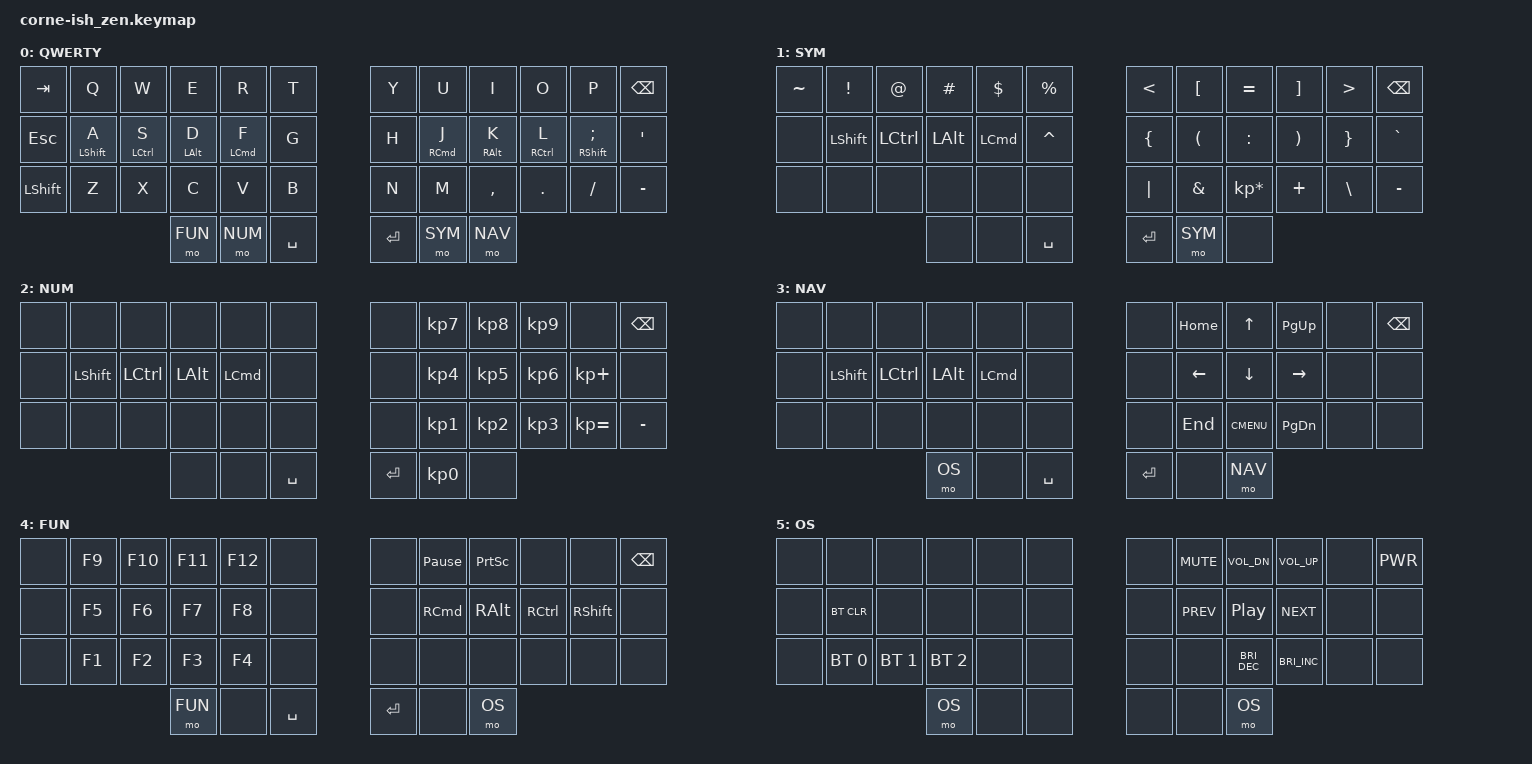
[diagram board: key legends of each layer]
/*
*
* Copyright (c) 2021 Darryl deHaan
* SPDX-License-Identifier: MIT
*
*/

#include <behaviors.dtsi>
#include <dt-bindings/zmk/keys.h>
#include <dt-bindings/zmk/bt.h>

#define QWE 0
#define SYM 1
#define NUM 2
#define NAV 3
#define FUN 4
#define OS  5

/ {
        chosen {
                zmk,matrix-transform = &default_transform;
                // zmk,matrix-transform = &five_column_transform;
        };
};

/ {
        behaviors {
                hm: homerow_mods {
                        compatible = "zmk,behavior-hold-tap";
                        #binding-cells = <2>;
                        tapping-term-ms = <200>;
                        quick_tap_ms = <0>;
                        flavor = "tap-preferred";
                        bindings = <&kp>, <&kp>;
                };
        };

        keymap {
                compatible = "zmk,keymap";

                default_layer {
                        display-name = "QWERTY";
// -----------------------------------------------------------------------------------------
// |  TAB |  Q  |  W  |  E  |  R  |  T  |   |  Y  |  U   |  I  |  O  |  P  | BKSP |
// |  ESC |  A  |  S  |  D  |  F  |  G  |   |  H  |  J   |  K  |  L  |  ;  |  '   |
// | SHFT |  Z  |  X  |  C  |  V  |  B  |   |  N  |  M   |  ,  |  .  |  /  |  -   |
//                    | FUN | NUM | SPC |   | ENT | SYM  | NAV |
                        bindings = <
// ╭─────────────┬─────────────┬─────────────┬─────────────┬─────────────┬─────────────╮   ╭─────────────┬─────────────┬─────────────┬─────────────┬─────────────┬─────────────╮
       &kp TAB        &kp Q         &kp W         &kp E         &kp R         &kp T             &kp Y         &kp U      &kp I           &kp O         &kp P        &kp BSPC
// ├─────────────┼─────────────┼─────────────┼─────────────┼─────────────┼─────────────┤   ├─────────────┼─────────────┼─────────────┼─────────────┼─────────────┼─────────────┤
       &kp ESC     &hm LSHFT A   &hm LCTRL S    &hm LALT D    &hm LCMD F      &kp G             &kp H       &hm RCMD J    &hm RALT K   &hm RCTRL L  &hm RSHFT SEMI  &kp SQT
// ├─────────────┼─────────────┼─────────────┼─────────────┼─────────────┼─────────────┤   ├─────────────┼─────────────┼─────────────┼─────────────┼─────────────┼─────────────┤
      &kp LSHFT       &kp Z         &kp X         &kp C         &kp V         &kp B             &kp N         &kp M      &kp COMMA       &kp DOT       &kp FSLH     &kp MINUS
// ╰─────────────┴─────────────┴─────────────┼─────────────┼─────────────┼─────────────┤   ├─────────────┼─────────────┼─────────────┼─────────────┴─────────────┴─────────────╯
                                                  &mo FUN      &mo NUM      &kp SPACE          &kp RET       &mo SYM       &mo NAV
//                                           ╰─────────────┴─────────────┴─────────────╯   ╰─────────────┴─────────────┴─────────────╯
                        >;
                };

                sym_layer {
                        display-name = "SYM";
// -----------------------------------------------------------------------------------------
// |  ~   |  !  |  @  |  #  |  $  |  %  |   |  <  |  [  |  =  |  ]  |  >  | BKSP |
// |      | SHF | CTL | ALT | CMD |  ^  |   |  {  |  (  |  :  |  )  |  }  |  `   |
// |      |     |     |     |     |     |   | "|" |  &  |  *  |  +  |  \  |  -   |
//                    | GUI |     | SPC |   | ENT |     | ALT |
                        bindings = <
// ╭─────────────┬─────────────┬─────────────┬─────────────┬─────────────┬─────────────╮   ╭─────────────┬─────────────┬─────────────┬─────────────┬─────────────┬─────────────╮
      &kp TILDE     &kp EXCL       &kp AT       &kp HASH      &kp DLLR      &kp PRCNT          &kp LT        &kp LBKT     &kp EQUAL     &kp RBKT       &kp GT       &kp BSPC
// ├─────────────┼─────────────┼─────────────┼─────────────┼─────────────┼─────────────┤   ├─────────────┼─────────────┼─────────────┼─────────────┼─────────────┼─────────────┤
        &none       &kp LSHFT     &kp LCTRL     &kp LALT      &kp LCMD      &kp CARET         &kp LBRC       &kp LPAR     &kp COLON     &kp RPAR      &kp RBRC      &kp GRAVE
// ├─────────────┼─────────────┼─────────────┼─────────────┼─────────────┼─────────────┤   ├─────────────┼─────────────┼─────────────┼─────────────┼─────────────┼─────────────┤
        &none         &none         &none         &none         &none         &none           &kp PIPE       &kp AMPS  &kp KP_MULTIPLY  &kp PLUS      &kp BSLH      &kp MINUS
// ╰─────────────┴─────────────┴─────────────┼─────────────┼─────────────┼─────────────┤   ├─────────────┼─────────────┼─────────────┼─────────────┴─────────────┴─────────────╯
                                                 &none         &none        &kp SPACE          &kp RET       &mo SYM        &none
//                                           ╰─────────────┴─────────────┴─────────────╯   ╰─────────────┴─────────────┴─────────────╯
                        >;
                };

                num_layer {
                        display-name = "NUM";
                        bindings = <
// ╭─────────────┬─────────────┬─────────────┬─────────────┬─────────────┬─────────────╮   ╭─────────────┬─────────────┬─────────────┬─────────────┬─────────────┬─────────────╮
        &none         &none         &none         &none         &none         &none             &none       &kp KP_N7     &kp KP_N8     &kp KP_N9       &none       &kp BSPC
// ├─────────────┼─────────────┼─────────────┼─────────────┼─────────────┼─────────────┤   ├─────────────┼─────────────┼─────────────┼─────────────┼─────────────┼─────────────┤
        &none       &kp LSHFT     &kp LCTRL     &kp LALT       &kp LCMD       &none             &none       &kp KP_N4     &kp KP_N5     &kp KP_N6    &kp KP_PLUS      &none
// ├─────────────┼─────────────┼─────────────┼─────────────┼─────────────┼─────────────┤   ├─────────────┼─────────────┼─────────────┼─────────────┼─────────────┼─────────────┤
        &none         &none         &none         &none         &none         &none             &none       &kp KP_N1     &kp KP_N2     &kp KP_N3    &kp KP_EQUAL   &kp MINUS
// ╰─────────────┴─────────────┴─────────────┼─────────────┼─────────────┼─────────────┤   ├─────────────┼─────────────┼─────────────┼─────────────┴─────────────┴─────────────╯
                                                  &none         &none       &kp SPACE          &kp RET      &kp KP_N0       &none
//                                           ╰─────────────┴─────────────┴─────────────╯   ╰─────────────┴─────────────┴─────────────╯
                        >;
                };

                nav_layer {
                        display-name = "NAV";
                        bindings = <
// ╭─────────────┬─────────────┬─────────────┬─────────────┬─────────────┬─────────────╮   ╭─────────────┬─────────────┬─────────────┬─────────────┬─────────────┬─────────────╮
        &none         &none         &none       &none           &none         &none             &none        &kp HOME      &kp UP       &kp PG_UP       &none        &kp BSPC
// ├─────────────┼─────────────┼─────────────┼─────────────┼─────────────┼─────────────┤   ├─────────────┼─────────────┼─────────────┼─────────────┼─────────────┼─────────────┤
        &none        &kp LSHFT     &kp LCTRL    &kp LALT       &kp LCMD       &none             &none        &kp LEFT      &kp DOWN     &kp RIGHT       &none         &none
// ├─────────────┼─────────────┼─────────────┼─────────────┼─────────────┼─────────────┤   ├─────────────┼─────────────┼─────────────┼─────────────┼─────────────┼─────────────┤
        &none         &none         &none       &none           &none         &none             &none        &kp END     &kp K_CMENU    &kp PG_DN       &none         &none
// ╰─────────────┴─────────────┴─────────────┼─────────────┼─────────────┼─────────────┤   ├─────────────┼─────────────┼─────────────┼─────────────┴─────────────┴─────────────╯
                                                  &mo OS        &none       &kp SPACE          &kp RET        &none        &mo NAV
//                                           ╰─────────────┴─────────────┴─────────────╯   ╰─────────────┴─────────────┴─────────────╯
                        >;
                };

                fun_layer {
                        display-name = "FUN";
                        bindings = <
// ╭─────────────┬─────────────┬─────────────┬─────────────┬─────────────┬─────────────╮   ╭─────────────┬─────────────┬─────────────┬─────────────┬─────────────┬─────────────╮
        &none        &kp F9        &kp F10       &kp F11       &kp F12        &none             &none    &kp PAUSE_BREAK  &kp PSCRN       &none         &none       &kp BSPC
// ├─────────────┼─────────────┼─────────────┼─────────────┼─────────────┼─────────────┤   ├─────────────┼─────────────┼─────────────┼─────────────┼─────────────┼─────────────┤
        &none        &kp F5        &kp F6        &kp F7        &kp F8         &none             &none        &kp RCMD     &kp RALT      &kp RCTRL     &kp RSHFT       &none
// ├─────────────┼─────────────┼─────────────┼─────────────┼─────────────┼─────────────┤   ├─────────────┼─────────────┼─────────────┼─────────────┼─────────────┼─────────────┤
        &none        &kp F1        &kp F2        &kp F3        &kp F4         &none             &none         &none        &none          &none         &none         &none
// ╰─────────────┴─────────────┴─────────────┼─────────────┼─────────────┼─────────────┤   ├─────────────┼─────────────┼─────────────┼─────────────┴─────────────┴─────────────╯
                                                 &mo FUN        &none       &kp SPACE          &kp RET        &none         &mo OS
//                                           ╰─────────────┴─────────────┴─────────────╯   ╰─────────────┴─────────────┴─────────────╯
                        >;
                };

// NOTE: this not in-sync with asavoy-corne-mx
                os_layer {
                        display-name = "OS";
                        bindings = <
// ╭─────────────┬─────────────┬─────────────┬─────────────┬─────────────┬─────────────╮   ╭─────────────┬─────────────┬─────────────┬─────────────┬─────────────┬─────────────╮
        &none         &none         &none         &none        &none          &none             &none      &kp C_MUTE   &kp C_VOL_DN  &kp C_VOL_UP      &none       &kp K_PWR
// ├─────────────┼─────────────┼─────────────┼─────────────┼─────────────┼─────────────┤   ├─────────────┼─────────────┼─────────────┼─────────────┼─────────────┼─────────────┤
        &none       &bt BT_CLR      &none         &none        &none          &none             &none      &kp C_PREV     &kp C_PP     &kp C_NEXT       &none         &none
// ├─────────────┼─────────────┼─────────────┼─────────────┼─────────────┼─────────────┤   ├─────────────┼─────────────┼─────────────┼─────────────┼─────────────┼─────────────┤
        &none      &bt BT_SEL 0  &bt BT_SEL 1  &bt BT_SEL 2    &none          &none             &none         &none     &kp C_BRI_DEC &kp C_BRI_INC     &none         &none
// ╰─────────────┴─────────────┴─────────────┼─────────────┼─────────────┼─────────────┤   ├─────────────┼─────────────┼─────────────┼─────────────┴─────────────┴─────────────╯
                                                  &mo OS       &none          &none             &none         &none        &mo OS
//                                           ╰─────────────┴─────────────┴─────────────╯   ╰─────────────┴─────────────┴─────────────╯
                        >;
                };

        };
};
